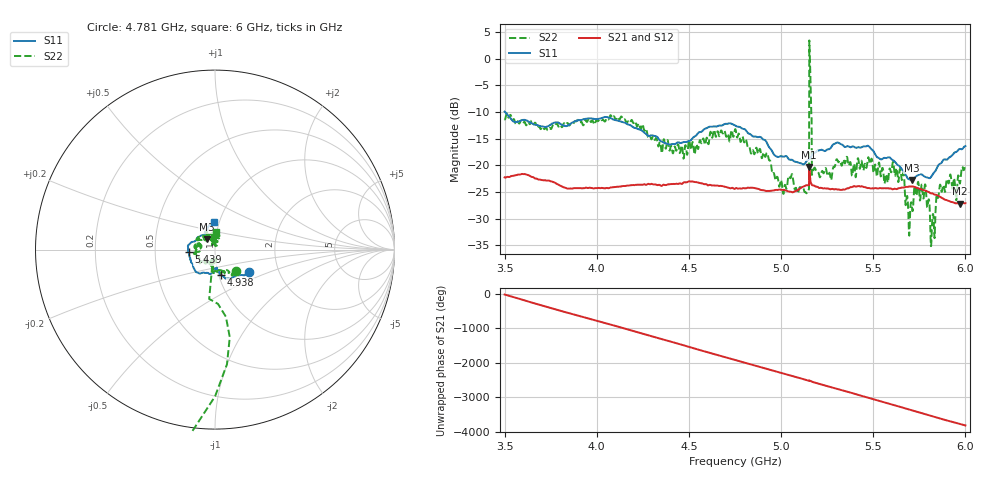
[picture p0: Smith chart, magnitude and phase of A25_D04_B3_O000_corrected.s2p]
! Created with skrf 1.9.0 (http://scikit-rf.org).
# Hz S RI R 50.0
!freq ReS11 ImS11 ReS21 ImS21 ReS12 ImS12 ReS22 ImS22
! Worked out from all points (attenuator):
!   1601 points, 3.5 GHz to 6 GHz, reference 50 ohm
!   highest |S21| = -20.31 dB at 5.153 GHz (marker M1); lowest = -27.2 dB at 5.97 GHz (marker M2)
!   lowest |S11| = -22.7 dB at 5.709 GHz (marker M3), VSWR 1.16, Z = 45.3 + j5.15 ohm
!   |S11| at or under -10 dB: 3.502 GHz to end of sweep
!   |S22| runs from -35.2 to 3.4 dB; largest |S21 - S12| = 0.0011
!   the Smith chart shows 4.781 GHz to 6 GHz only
!   S11 on the Smith chart (normalised r, x): 4.781 GHz: 1.41, -0.37; 4.938 GHz: 1.03, -0.30; 5.439 GHz: 0.74, -0.02; 6 GHz: 0.95, +0.29
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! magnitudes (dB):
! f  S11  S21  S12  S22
! 3.5 GHz  -9.9  -22.3  -22.2  -11.4
! 3.917 GHz  -11.5  -24.3  -24.3  -11.9
! 4.334 GHz  -15.0  -23.7  -23.6  -16.5
! 4.75 GHz  -12.5  -24.4  -24.3  -13.3
! 4.781 GHz  -12.9  -24.4  -24.3  -15.6
! 4.938 GHz  -16.7  -24.8  -24.8  -19.1
! 5.003 GHz  -18.3  -24.6  -24.6  -23.2
! 5.139 GHz  -19.2  -23.7  -23.6  -25.2
! 5.153 GHz  -18.9  -20.3  -20.2  3.4
! 5.167 GHz  -18.1  -23.7  -23.7  -21.8
! 5.18 GHz  -17.7  -23.8  -23.8  -20.5
! 5.203 GHz  -17.2  -24.2  -24.1  -21.4
! 5.439 GHz  -16.6  -24.0  -23.9  -19.5
! 5.584 GHz  -18.5  -24.3  -24.3  -21.6
! 5.655 GHz  -20.7  -24.2  -24.1  -22.8
! 5.686 GHz  -22.4  -24.1  -24.0  -26.1
! 5.709 GHz  -22.7  -24.0  -23.9  -27.6
! 5.773 GHz  -22.0  -24.7  -24.6  -26.2
! 5.822 GHz  -21.7  -25.3  -25.2  -29.6
! 5.855 GHz  -19.9  -25.8  -25.7  -25.7
! 5.97 GHz  -16.9  -27.2  -27.1  -23.4
! 6 GHz  -16.4  -27.1  -27.0  -20.1
